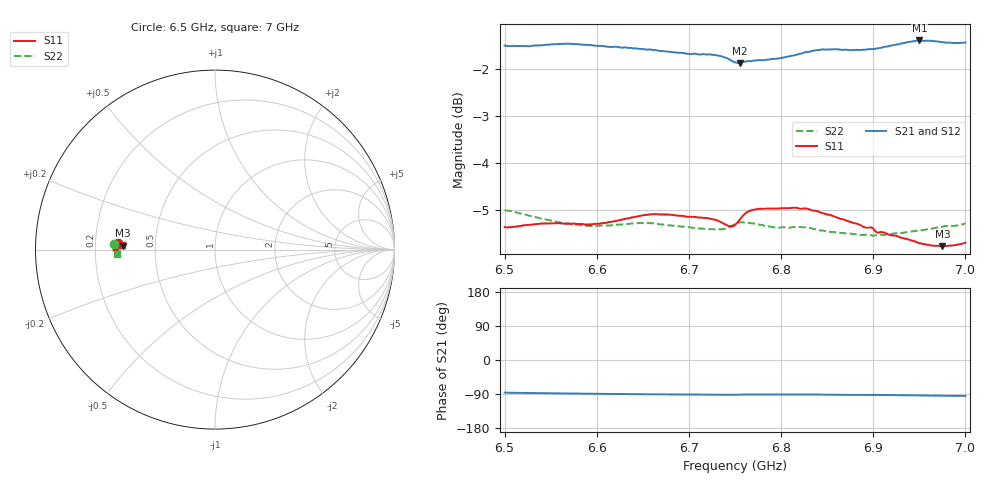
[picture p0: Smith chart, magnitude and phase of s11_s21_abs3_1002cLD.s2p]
! MS46122B
! 1919307/90821646
! 7/29/2022 2:22:51 PM
! C:\USERS\PC_\DESKTOP\MEDICIONES\BANCHA ESTRECHA\65_7GHZ\S11_S21_ABS3_1002CL.S2P
! CHANNEL.1
! TR.MEASUREMENT
! CORRECTED.DATA
# GHZ S RI R 50.0
! FREQ.GHZ  S11RE  S11IM  S21RE  S21IM  S12RE  S12IM  S22RE  S22IM
!; PortSelection: Port_12
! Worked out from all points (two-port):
!   201 points, 6.5 GHz to 7 GHz, reference 50 ohm
!   highest |S21| = -1.40 dB at 6.95 GHz (marker M1); lowest = -1.9 dB at 6.755 GHz (marker M2)
!   |S21| within 3 dB of the highest: start of sweep to end of sweep
!   lowest |S11| = -5.8 dB at 6.975 GHz (marker M3), VSWR 3.13, Z = 16 + j0.925 ohm
!   |S11| at or under -10 dB: nowhere
!   |S22| runs from -5.5 to -5.0 dB; largest |S21 - S12| = 0.013
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6.5  -0.5387 0.0363  0.0606 -0.8384  0.0632 -0.8349  -0.5619 0.0299
6.5075  -0.5393 0.0259  0.0514 -0.8377  0.061 -0.8345  -0.5607 0.0262
6.5475  -0.5446 0.00881  0.0378 -0.8411  0.051 -0.8392  -0.5492 0.00968
6.585  -0.5438 -0.00467  0.0184 -0.842  0.0301 -0.8439  -0.5418 0.0118
6.62  -0.5474 -0.0183  0.00381 -0.8383  0.0124 -0.8388  -0.5425 0.0123
6.6675  -0.5563 -0.0249  -0.00907 -0.8298  -0.00274 -0.8329  -0.5435 -0.0154
6.7  -0.5534 -0.0115  -0.0143 -0.8234  -0.00969 -0.8275  -0.5393 -0.0223
6.7325  -0.5476 0.00955  -0.0236 -0.8194  -0.0188 -0.8225  -0.5369 -0.0097
6.7425  -0.5415 0.00822  -0.0263 -0.8136  -0.023 -0.8154  -0.5387 -0.00829
6.75  -0.5425 -0.00219  -0.0231 -0.8065  -0.0193 -0.8083  -0.5439 -0.00738
6.755  -0.5495 -0.00694  -0.0185 -0.8052  -0.0152 -0.8078  -0.5461 -0.00411
6.765  -0.5611 -0.00484  -0.014 -0.8092  -0.0111 -0.81  -0.5454 -0.00209
6.775  -0.5643 -0.0026  -0.0137 -0.8111  -0.0112 -0.8117  -0.5434 -0.00436
6.805  -0.565 -0.00311  -0.00929 -0.8172  -0.00747 -0.8175  -0.5389 -0.0256
6.835  -0.5618 0.0165  -0.0144 -0.8297  -0.0137 -0.8297  -0.5369 -0.023
6.8525  -0.5555 0.0307  -0.0225 -0.8322  -0.0221 -0.8321  -0.5335 -0.0129
6.8725  -0.5465 0.0375  -0.0303 -0.8311  -0.0295 -0.8297  -0.5313 -0.00173
6.89  -0.5387 0.0341  -0.0314 -0.8314  -0.0314 -0.8276  -0.5298 0.00258
6.9175  -0.5295 0.0184  -0.0354 -0.8387  -0.0338 -0.8329  -0.5302 -0.00534
6.95  -0.5187 0.0144  -0.0517 -0.8495  -0.0456 -0.8414  -0.5352 -0.0203
6.975  -0.5149 0.0212  -0.0655 -0.8451  -0.0591 -0.8407  -0.5398 -0.0226
7  -0.5192 0.0232  -0.0725 -0.8434  -0.0676 -0.8374  -0.5445 -0.022
